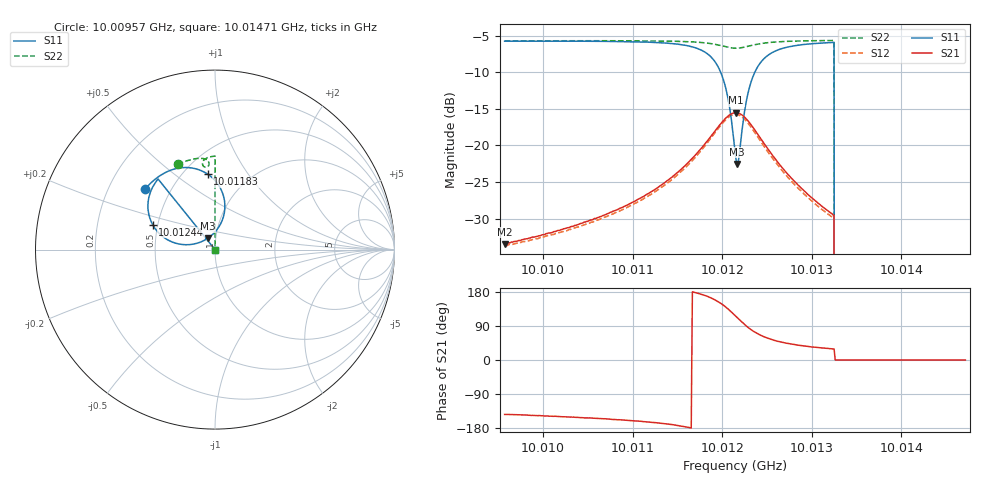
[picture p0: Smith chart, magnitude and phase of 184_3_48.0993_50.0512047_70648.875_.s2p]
#  HZ  S  RI  R  50.00
! Rohde & Schwarz Vector Network Analyzer
! Rohde-Schwarz,ZNB20-2Port,1311601062101988,3.16
! Created: UTC 12/23/2023, 3:53:06 AM
! freq[Hz]  re:S11  im:S11  re:S21  im:S21  re:S12  im:S12  re:S22  im:S22
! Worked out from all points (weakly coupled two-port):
!   401 points, 10.00957 GHz to 10.01471 GHz, reference 50 ohm
!   highest |S21| = -15.53 dB at 10.01216 GHz (marker M1); lowest = -33.4 dB at 10.00957 GHz (marker M2)
!   lowest |S11| = -22.5 dB at 10.01217 GHz (marker M3), VSWR 1.16, Z = 45.8 + j5.79 ohm
!   |S11| at or under -10 dB: 10.01198 GHz to 10.01236 GHz (381.3 kHz wide, 0.00381 % of centre); 10.01325 GHz to end of sweep
!   |S22| runs from - to -5.7 dB; largest |S21 - S12| = 0.0083
!   S11 on the Smith chart (normalised r, x): 10.00957 GHz: 0.36, +0.33; 10.01183 GHz: 0.65, +0.67; 10.01244 GHz: 0.47, +0.15; 10.01471 GHz: 1.00, +0.00
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1.0009572e10  -0.3879 0.3389  -0.0171 -0.0126  -0.0159 -0.0131  -0.2073 0.4747
1.0010434e10  -0.3328 0.3927  -0.026 -0.0138  -0.0244 -0.0145  -0.1537 0.4955
1.0011295e10  -0.2309 0.4476  -0.0509 -0.0123  -0.0482 -0.0144  -0.0925 0.5083
1.001159e10  -0.1545 0.4573  -0.0731 -0.00476  -0.0701 -0.00832  -0.0672 0.5076
1.0011834e10  -0.0411 0.4207  -0.1052 0.022  -0.1031 0.0164  -0.0432 0.4977
1.001195e10  0.0272 0.3472  -0.1198 0.0574  -0.1195 0.0491  -0.0343 0.4852
1.0012027e10  0.0545 0.2576  -0.1193 0.0926  -0.1204 0.0848  -0.0334 0.4733
1.0012079e10  0.0468 0.1821  -0.1074 0.1201  -0.1101 0.1122  -0.0373 0.4654
1.0012143e10  -0.00626 0.0911  -0.0773 0.1483  -0.0807 0.1417  -0.047 0.4592
1.0012156e10  -0.023 0.0759  -0.0695 0.1523  -0.0734 0.1455  -0.0493 0.4587
1.0012169e10  -0.0406 0.063  -0.0616 0.1552  -0.0656 0.1488  -0.0518 0.4587
1.0012194e10  -0.0797 0.0422  -0.0454 0.1587  -0.0493 0.1527  -0.0563 0.4595
1.0012246e10  -0.1628 0.0272  -0.0126 0.1565  -0.0169 0.151  -0.0642 0.4645
1.0012297e10  -0.2361 0.0413  0.0141 0.1443  0.00846 0.1396  -0.0687 0.4721
1.0012361e10  -0.3027 0.0824  0.0354 0.1233  0.0297 0.1195  -0.0696 0.4821
1.0012439e10  -0.3479 0.1398  0.0476 0.0985  0.0419 0.0959  -0.0661 0.4925
1.0012683e10  -0.3715 0.2744  0.0478 0.0498  0.0435 0.0493  -0.0455 0.5104
1.0013004e10  -0.342 0.3582  0.0362 0.0246  0.0332 0.0251  -0.0183 0.5185
1.0013223e10  -0.3196 0.3901  0.0299 0.0169  0.0275 0.0176  -0.0016 0.5206
1.0013287e10  0 0  0 0  0 0  0 0
1.0013865e10  0 0  0 0  0 0  0 0
1.0014713e10  0 0  0 0  0 0  0 0
